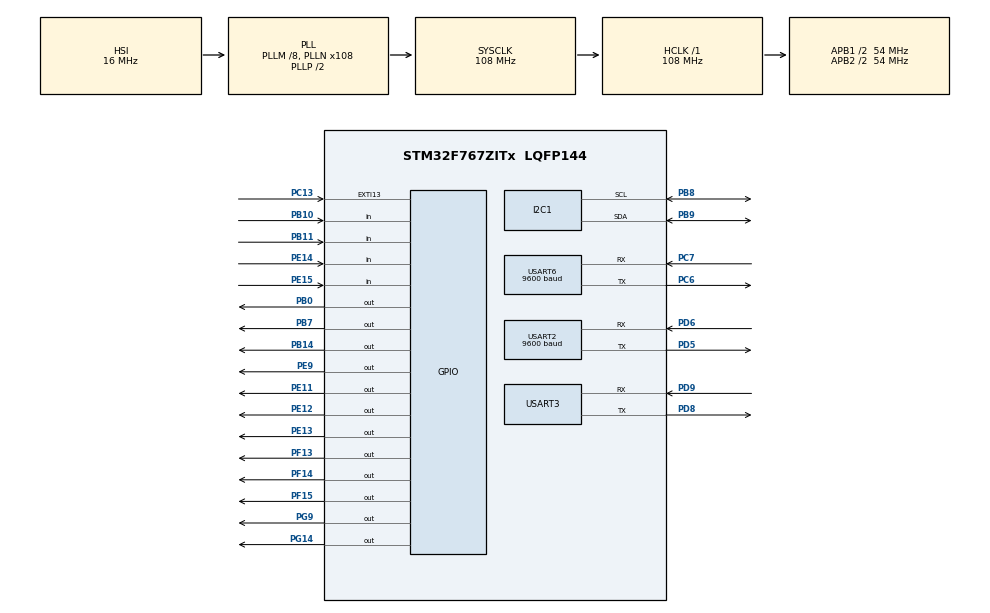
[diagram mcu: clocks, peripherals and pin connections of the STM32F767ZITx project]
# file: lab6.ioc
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I2C1.Timing=0x20404768
Mcu.Family=STM32F7
Mcu.Name=STM32F767ZITx
Mcu.Package=LQFP144
NVIC.EXTI15_10_IRQn=true\:1\:0\:true\:false\:true\:true\:true
NVIC.PriorityGroup=NVIC_PRIORITYGROUP_2
NVIC.TIM1_UP_TIM10_IRQn=true\:1\:0\:true\:false\:true\:true\:true
NVIC.TIM2_IRQn=true\:2\:0\:true\:false\:true\:true\:true
PB0.Signal=GPIO_Output
PB10.Signal=GPIO_Input
PB11.Signal=GPIO_Input
PB14.Signal=GPIO_Output
PB7.Signal=GPIO_Output
PB8.Mode=I2C
PB8.Signal=I2C1_SCL
PB9.Mode=I2C
PB9.Signal=I2C1_SDA
PC13.Signal=GPXTI13
PC6.Mode=Asynchronous
PC6.Signal=USART6_TX
PC7.Mode=Asynchronous
PC7.Signal=USART6_RX
PD5.Mode=Asynchronous
PD5.Signal=USART2_TX
PD6.Mode=Asynchronous
PD6.Signal=USART2_RX
PD8.Mode=Asynchronous
PD8.Signal=USART3_TX
PD9.Mode=Asynchronous
PD9.Signal=USART3_RX
PE11.Signal=GPIO_Output
PE12.Signal=GPIO_Output
PE13.Signal=GPIO_Output
PE14.Signal=GPIO_Input
PE15.Signal=GPIO_Input
PE9.Signal=GPIO_Output
PF13.Signal=GPIO_Output
PF14.Signal=GPIO_Output
PF15.Signal=GPIO_Output
PG14.Signal=GPIO_Output
PG9.Signal=GPIO_Output
ProjectManager.HeapSize=0x200
ProjectManager.StackSize=0x400
ProjectManager.TargetToolchain=STM32CubeIDE
RCC.AHBFreq_Value=108000000
RCC.APB1CLKDivider=RCC_HCLK_DIV2
RCC.APB1Freq_Value=54000000
RCC.APB1TimFreq_Value=108000000
RCC.APB2CLKDivider=RCC_HCLK_DIV2
RCC.APB2Freq_Value=54000000
RCC.APB2TimFreq_Value=108000000
RCC.CortexFreq_Value=108000000
RCC.HCLKFreq_Value=108000000
RCC.HSE_VALUE=25000000
RCC.HSI_VALUE=16000000
RCC.LSE_VALUE=32768
RCC.PLLM=8
RCC.PLLN=108
RCC.SYSCLKFreq_VALUE=108000000
RCC.SYSCLKSource=RCC_SYSCLKSOURCE_PLLCLK
RCC.USBFreq_Value=108000000
RCC.VCOOutputFreq_Value=216000000
TIM1.Period=1000-1
TIM1.Prescaler=108-1
TIM2.Period=1000000-1
TIM2.Prescaler=108-1
USART2.BaudRate=9600
USART2.VirtualMode-Asynchronous=VM_ASYNC
USART3.VirtualMode-Asynchronous=VM_ASYNC
USART6.BaudRate=9600
USART6.VirtualMode-Asynchronous=VM_ASYNC
VP_TIM1_VS_ClockSourceINT.Mode=Internal
VP_TIM2_VS_ClockSourceINT.Mode=Internal
board=custom

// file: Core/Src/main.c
/* USER CODE BEGIN Header */
/**
  ******************************************************************************
  * @file           : main.c
  * @brief          : Main program body
  ******************************************************************************
  * @attention
  *
  * <h2><center>&copy; Copyright (c) 2021 STMicroelectronics.
  * All rights reserved.</center></h2>
  *
  * This software component is licensed by ST under BSD 3-Clause license,
  * the "License"; You may not use this file except in compliance with the
  * License. You may obtain a copy of the License at:
  *                        opensource.org/licenses/BSD-3-Clause
  *
  ******************************************************************************
  */
/* USER CODE END Header */
#include "main.h"
#include "i2c.h"
#include "tim.h"
#include "usart.h"
#include "gpio.h"

/* USER CODE BEGIN Includes */
#include "string.h"
/* USER CODE END Includes */

/* USER CODE BEGIN PV */
uint32_t count = 0;
uint8_t cmdBuffer[3];
uint8_t dataBuffer[8];
uint32_t count2 = 0;
uint32_t count3 = 2999;
uint32_t t = 0;
uint32_t h = 0;
uint32_t hutu = 0;
uint32_t x = 0;
uint32_t tat = 0;
uint32_t termomiter = 28;
uint32_t bin[6] = {0,0,0,0,0,0};
uint32_t alert[3] = {0,1,0};
uint32_t alert2[3] = {0,2,0};
uint32_t st = 1;
uint32_t nub = 0;

float humid =30.0, temp=40.0;
uint8_t step = 0;
HAL_StatusTypeDef status;
char str[50];
char num[] = " ";
char numn[] = " ";
char num1[] = " ";
char num2[] = " ";

/* USER CODE END PV */

void SystemClock_Config(void);
/* USER CODE BEGIN PFP */
uint16_t CRC16_2(uint8_t *,uint8_t );
/* USER CODE END PFP */

int main(void)
{

  /* MCU Configuration--------------------------------------------------------*/

  /* Reset of all peripherals, Initializes the Flash interface and the Systick. */
  HAL_Init();

  /* USER CODE BEGIN Init */
  cmdBuffer[0] = 0x03;
  cmdBuffer[1] = 0x00;
  cmdBuffer[2] = 0x04;
  /* USER CODE END Init */

  /* Configure the system clock */
  SystemClock_Config();

  /* Initialize all configured peripherals */
  MX_GPIO_Init();
  MX_TIM1_Init();
  MX_TIM2_Init();
  MX_USART3_UART_Init();
  MX_I2C1_Init();
  MX_USART6_UART_Init();
  MX_USART2_UART_Init();
  /* USER CODE BEGIN 2 */
  HAL_TIM_Base_Start_IT (&htim1);
  HAL_TIM_Base_Start_IT (&htim2);
  /* USER CODE END 2 */

  /* Infinite loop */
  while (1)
  {

    /* USER CODE BEGIN 3 */
//	  HAL_Delay(400);
//	  displayNumber2(count);
	  char strt[] = "\rTimer          \r\n\tpress button to set time\r\n\tAlert Time : 05:00:00";
	  char strt2[] = "\r\n\tAlert Time2 : ";
	  sprintf(num2,"%.2d:%.2d:%.2d\n",alert2[0],alert2[1],alert2[2]);
	  while(__HAL_UART_GET_FLAG(&huart3,UART_FLAG_TC)==RESET){}
	  HAL_UART_Transmit(&huart3, (uint32_t*)strt,strlen(strt),1000);
	  HAL_UART_Transmit(&huart3, (uint32_t*)strt2,strlen(strt2),1000);
	  HAL_UART_Transmit(&huart3, (uint32_t*)num2,strlen(num2),1000);
	  HAL_Delay(800);
	  termomiter = 31;
	  while(st){
//
//		  Temp();
		  if(count2 == 1){
			  count2 = 0;
		  	displayNumber2();
		  	checkalert();
		  	ctemp(termomiter);
		   }
	  }
  }
  /* USER CODE END 3 */
}

void SystemClock_Config(void)
{
  RCC_OscInitTypeDef RCC_OscInitStruct = {0};
  RCC_ClkInitTypeDef RCC_ClkInitStruct = {0};
  RCC_PeriphCLKInitTypeDef PeriphClkInitStruct = {0};

  /** Configure the main internal regulator output voltage
  */
  __HAL_RCC_PWR_CLK_ENABLE();
  __HAL_PWR_VOLTAGESCALING_CONFIG(PWR_REGULATOR_VOLTAGE_SCALE3);
  /** Initializes the RCC Oscillators according to the specified parameters
  * in the RCC_OscInitTypeDef structure.
  */
  RCC_OscInitStruct.OscillatorType = RCC_OSCILLATORTYPE_HSI;
  RCC_OscInitStruct.HSIState = RCC_HSI_ON;
  RCC_OscInitStruct.HSICalibrationValue = RCC_HSICALIBRATION_DEFAULT;
  RCC_OscInitStruct.PLL.PLLState = RCC_PLL_ON;
  RCC_OscInitStruct.PLL.PLLSource = RCC_PLLSOURCE_HSI;
  RCC_OscInitStruct.PLL.PLLM = 8;
  RCC_OscInitStruct.PLL.PLLN = 108;
  RCC_OscInitStruct.PLL.PLLP = RCC_PLLP_DIV2;
  RCC_OscInitStruct.PLL.PLLQ = 2;
  RCC_OscInitStruct.PLL.PLLR = 2;
  if (HAL_RCC_OscConfig(&RCC_OscInitStruct) != HAL_OK)
  {
    Error_Handler();
  }
  /** Activate the Over-Drive mode
  */
  if (HAL_PWREx_EnableOverDrive() != HAL_OK)
  {
    Error_Handler();
  }
  /** Initializes the CPU, AHB and APB buses clocks
  */
  RCC_ClkInitStruct.ClockType = RCC_CLOCKTYPE_HCLK|RCC_CLOCKTYPE_SYSCLK
                              |RCC_CLOCKTYPE_PCLK1|RCC_CLOCKTYPE_PCLK2;
  RCC_ClkInitStruct.SYSCLKSource = RCC_SYSCLKSOURCE_PLLCLK;
  RCC_ClkInitStruct.AHBCLKDivider = RCC_SYSCLK_DIV1;
  RCC_ClkInitStruct.APB1CLKDivider = RCC_HCLK_DIV2;
  RCC_ClkInitStruct.APB2CLKDivider = RCC_HCLK_DIV2;

  if (HAL_RCC_ClockConfig(&RCC_ClkInitStruct, FLASH_LATENCY_3) != HAL_OK)
  {
    Error_Handler();
  }
  PeriphClkInitStruct.PeriphClockSelection = RCC_PERIPHCLK_USART2|RCC_PERIPHCLK_USART3
                              |RCC_PERIPHCLK_USART6|RCC_PERIPHCLK_I2C1;
  PeriphClkInitStruct.Usart2ClockSelection = RCC_USART2CLKSOURCE_PCLK1;
  PeriphClkInitStruct.Usart3ClockSelection = RCC_USART3CLKSOURCE_PCLK1;
  PeriphClkInitStruct.Usart6ClockSelection = RCC_USART6CLKSOURCE_PCLK2;
  PeriphClkInitStruct.I2c1ClockSelection = RCC_I2C1CLKSOURCE_PCLK1;
  if (HAL_RCCEx_PeriphCLKConfig(&PeriphClkInitStruct) != HAL_OK)
  {
    Error_Handler();
  }
}

/* USER CODE BEGIN 4 */

void Temp(){

	  HAL_I2C_Master_Transmit(&hi2c1,0x5c<<1,cmdBuffer,3,200);
	  HAL_I2C_Master_Transmit(&hi2c1,0x5c<<1,cmdBuffer,3,200);

	  HAL_Delay(1);

		  HAL_I2C_Master_Receive(&hi2c1,0x5c<<1,dataBuffer,8,200);

		  uint16_t Rcrc = dataBuffer[7]<<8;
		  Rcrc += dataBuffer[6];
		  if(Rcrc == CRC16_2(dataBuffer,6)){
		  uint16_t temperature = ((dataBuffer[4] & 0x7F) << 8) + dataBuffer[5];

		  temp = (((dataBuffer[4] & 0x80) >> 7) == 1)?(t*(-1)) : t ;
		  temp = temperature / 10.0;

		  uint16_t humidity = (dataBuffer[2] << 8) + dataBuffer[3];
		  humid = humidity /10.0;

//		  sprintf(str,"Temp  %4.1f C\n\rHumid %4.1f %%\n\r\n",temp,humid);
//		  while(__HAL_UART_GET_FLAG(&huart3,UART_FLAG_TC)==RESET){}
//		  HAL_UART_Transmit(&huart3,(uint8_t*) str,strlen(str),200);
}
}

//void displayTemp(uint8_t t,uint8_t h){
//	 sprintf(str,"Temp  %4.1f C\n\rHumid %4.1f %%\n\r\n",t,h);
//     while(__HAL_UART_GET_FLAG(&huart3,UART_FLAG_TC)==RESET){}
//	 HAL_UART_Transmit(&huart3,(uint8_t*) str,strlen(str),200);
//}

uint16_t CRC16_2(uint8_t *ptr, uint8_t length)
{
    uint16_t crc = 0xFFFF;
    uint8_t s = 0x00;

    while(length--){
        crc ^= *ptr++;
        for(s = 0; s < 8; s++){
            if((crc & 0x01) != 0){
                crc >>= 1;
                crc ^= 0xA001;
            } else crc >>= 1;
        }
    }
    return crc;
}

//void displayNumber(uint32_t x)
//{
//	sprintf(num,"%d",x);
//	while(__HAL_UART_GET_FLAG(&huart3,UART_FLAG_TC)==RESET){}
//	HAL_UART_Transmit(&huart3, (uint32_t*) "\n\r", 4,1000);
//	HAL_UART_Transmit(&huart3, (uint32_t*)num,strlen(num),1000);
//
//}
void checkalert(){
	if(alert[0]==h ){
		if(alert[1]== t ){
			if(alert[2]== x ){
				HAL_GPIO_WritePin(GPIOE, GPIO_PIN_12, 1);
				HAL_GPIO_WritePin(GPIOF, GPIO_PIN_13, 1);

			}}}
	if(alert2[0]==h ){
			if(alert2[1]==t ){
				if(alert2[2]==x ){
					HAL_GPIO_WritePin(GPIOE, GPIO_PIN_12, 0);
					HAL_GPIO_WritePin(GPIOE, GPIO_PIN_9, 1);}}}
	HAL_Delay(100);
	HAL_GPIO_WritePin(GPIOF, GPIO_PIN_13, 0);
	HAL_GPIO_WritePin(GPIOE, GPIO_PIN_9, 0);
}
void ctemp(int e ){
		if(0== t ){
			if(7 == x){
				senttemp(termomiter);
				Temp();
				hutu = humid;
				termomiter = temp;
			}
		}
		if(x%10 ==0){
				sprintf(num2," %.2d:%.2d:%.2d ",h,t,x);
			nub = strlen(num2);
			while(__HAL_UART_GET_FLAG(&huart2,UART_FLAG_TC)==RESET){}
			HAL_UART_Transmit(&huart2, (uint32_t*) num2,strlen(num2),1000 );
			}
		else if(x%5 == 0){
			sprintf(num2,"T=%.2d H=%.2d ",termomiter,hutu);
			nub = strlen(num2);
			while(__HAL_UART_GET_FLAG(&huart2,UART_FLAG_TC)==RESET){}
			HAL_UART_Transmit(&huart2, (uint32_t*) num2,strlen(num2),1000 );
					}

		if(t%1 == 0 ){
			if(18 == x){
			Temp();
			termomiter = (termomiter+temp)/2;
			hutu = (hutu+humid)/2;
			senttemp(termomiter);

		}
				}

}
void senttemp(int e){
	for(int w=0 ; w < 6 ;w++){
		bin[w] = e % 2;
		e /= 2;
	}
	HAL_GPIO_WritePin(GPIOF, GPIO_PIN_13, 1);
	HAL_GPIO_WritePin(GPIOE, GPIO_PIN_9, 1);
	HAL_GPIO_WritePin(GPIOG, GPIO_PIN_9, bin[0]);
	HAL_GPIO_WritePin(GPIOG, GPIO_PIN_14, bin[1]);
	HAL_GPIO_WritePin(GPIOF, GPIO_PIN_15, bin[2]);
	HAL_GPIO_WritePin(GPIOE, GPIO_PIN_13, bin[3]);
	HAL_GPIO_WritePin(GPIOF, GPIO_PIN_14, bin[4]);
	HAL_GPIO_WritePin(GPIOE, GPIO_PIN_11, bin[5]);
	HAL_Delay(300);
	HAL_GPIO_WritePin(GPIOF, GPIO_PIN_13, 0);
	HAL_GPIO_WritePin(GPIOE, GPIO_PIN_9, 0);
	HAL_GPIO_WritePin(GPIOG, GPIO_PIN_9, 0);
	HAL_GPIO_WritePin(GPIOG, GPIO_PIN_14, 0);
	HAL_GPIO_WritePin(GPIOF, GPIO_PIN_15, 0);
	HAL_GPIO_WritePin(GPIOE, GPIO_PIN_13, 0);
	HAL_GPIO_WritePin(GPIOF, GPIO_PIN_14, 0);
	HAL_GPIO_WritePin(GPIOE, GPIO_PIN_11, 0);
}
void displayNumber2()
{
//	x = x/1000;
	count3 += 2;
//	x += 1;
//	if(x>59){
//		t++;
//		x = 0;}
//	if(t>59){
//			t = 0;
//			h++;
//			}
//	if(h>23){
//			h=0;
//			}
//	sprintf(num,"%d",count3);
//	sprintf(num,"%.2d:%.2d:%.2d Temp = %2d  ",h,t,x,termomiter);
	Temp();
	termomiter = temp;
	hutu = humid;
	sprintf(num,"%.2d:%.2d:%.2d Temp = %2d Humid %2d",h,t,x,termomiter,hutu);
	while(__HAL_UART_GET_FLAG(&huart3,UART_FLAG_TC)==RESET){}
	HAL_UART_Transmit(&huart3, (uint32_t*) "\r", 4,1000);
	HAL_UART_Transmit(&huart3, (uint32_t*)num,strlen(num),1000);
//	sprintf(num,"%2d",termomiter);
//	while(__HAL_UART_GET_FLAG(&huart6,UART_FLAG_TC)==RESET){}
//	HAL_UART_Transmit(&huart6, (uint32_t*)num,strlen(num),1000);
//	if(count3 == 3029){
//			while(__HAL_UART_GET_FLAG(&huart3,UART_FLAG_TC)==RESET){}
//				HAL_UART_Transmit(&huart3, (uint32_t*) "\n\r", 4,1000);
//				HAL_UART_Transmit(&huart3, (uint32_t*)"stop",4,1000);
//				st = 0;
//		}

}
void HAL_GPIO_EXTI_Callback(uint16_t GPIO_Pin){
//	if(GPIO_Pin == GPIO_PIN_13){
//		HAL_Delay(1000);
//		HAL_GPIO_WritePin(GPIOB, GPIO_PIN_0, 1);
//		HAL_Delay(1000);
//		HAL_GPIO_WritePin(GPIOB, GPIO_PIN_7, 1);
//		HAL_Delay(1000);
//		HAL_GPIO_WritePin(GPIOB, GPIO_PIN_7, 0);
//		HAL_GPIO_WritePin(GPIOB, GPIO_PIN_0, 0);
//	}
	tat = 0 ;
	while(__HAL_UART_GET_FLAG(&huart3,UART_FLAG_TC)==RESET){}
					HAL_UART_Transmit(&huart3, (uint32_t*) "\n\r Next", 9,1000);
	while(1){
//		while(__HAL_UART_GET_FLAG(&huart3, UART_FLAG_RXNE) == RESET){}
//				HAL_UART_Receive(&huart3, (uint8_t*) &usrType, 1, 1000);
		if(HAL_GPIO_ReadPin(GPIOE, GPIO_PIN_14) == GPIO_PIN_RESET ){
			HAL_Delay(7000);
			if(tat == 0){
				h++;
			if(h>23){
				h=0;
			}
			sprintf(num,"Time = %.2d:%.2d:%.2d",h,t,x);
			while(__HAL_UART_GET_FLAG(&huart3,UART_FLAG_TC)==RESET){}
				HAL_UART_Transmit(&huart3, (uint32_t*) "\r", 2,1000);
				HAL_UART_Transmit(&huart3, (uint32_t*)num,strlen(num),1000);
			sprintf(num2," %.2d:%.2d:%.2d ",h,t,x);
				while(__HAL_UART_GET_FLAG(&huart2,UART_FLAG_TC)==RESET){}
				HAL_UART_Transmit(&huart2, (uint32_t*) num2,strlen(num2),1000 );
			}
			if(tat == 1){
				alert[0]++;
				if(alert[0] > 23){
					alert[0] = 0;
				}
				sprintf(num,"Open %.2d:%.2d:%.2d",alert[0],alert[1],alert[2]);
				while(__HAL_UART_GET_FLAG(&huart3,UART_FLAG_TC)==RESET){}
				HAL_UART_Transmit(&huart3, (uint32_t*) "\r", 2,1000);
				HAL_UART_Transmit(&huart3, (uint32_t*)num,strlen(num),1000);
				sprintf(num2," %.2d:%.2d:%.2d ",alert[0],alert[1],alert[2]);
				while(__HAL_UART_GET_FLAG(&huart2,UART_FLAG_TC)==RESET){}
				HAL_UART_Transmit(&huart2, (uint32_t*) num2,strlen(num2),1000 );

			}
			if(tat == 2){
							alert2[0]++;
							if(alert2[0] > 23){
								alert2[0] = 0;
							}
							sprintf(num,"Close %.2d:%.2d:%.2d",alert2[0],alert2[1],alert2[2]);
							while(__HAL_UART_GET_FLAG(&huart3,UART_FLAG_TC)==RESET){}
							HAL_UART_Transmit(&huart3, (uint32_t*) "\r", 2,1000);
							HAL_UART_Transmit(&huart3, (uint32_t*)num,strlen(num),1000);
							sprintf(num2," %.2d:%.2d:%.2d ",alert2[0],alert2[1],alert2[2]);
							while(__HAL_UART_GET_FLAG(&huart2,UART_FLAG_TC)==RESET){}
							HAL_UART_Transmit(&huart2, (uint32_t*) num2,strlen(num2),1000 );

						}

		}
		if(HAL_GPIO_ReadPin(GPIOE, GPIO_PIN_15) == GPIO_PIN_RESET ){
			HAL_Delay(7000);
			if(tat ==  0){
				t++;
					if(t>59){
									t=0;
								}
					sprintf(num,"Time = %.2d:%.2d:%.2d",h,t,x);
								while(__HAL_UART_GET_FLAG(&huart3,UART_FLAG_TC)==RESET){}
									HAL_UART_Transmit(&huart3, (uint32_t*) "\r", 2,1000);
									HAL_UART_Transmit(&huart3, (uint32_t*)num,strlen(num),1000);
									sprintf(num2," %.2d:%.2d:%.2d ",h,t,x);
									while(__HAL_UART_GET_FLAG(&huart2,UART_FLAG_TC)==RESET){}
									HAL_UART_Transmit(&huart2, (uint32_t*) num2,strlen(num2),1000 );
			}
			if(tat == 1){
							alert[1]++;
							if(alert[1] > 59){
								alert[1] = 0;
							}
							sprintf(num,"Open %.2d:%.2d:%.2d",alert[0],alert[1],alert[2]);
							while(__HAL_UART_GET_FLAG(&huart3,UART_FLAG_TC)==RESET){}
							HAL_UART_Transmit(&huart3, (uint32_t*) "\r", 2,1000);
							HAL_UART_Transmit(&huart3, (uint32_t*)num,strlen(num),1000);
							sprintf(num2," %.2d:%.2d:%.2d ",alert[0],alert[1],alert[2]);
											while(__HAL_UART_GET_FLAG(&huart2,UART_FLAG_TC)==RESET){}
											HAL_UART_Transmit(&huart2, (uint32_t*) num2,strlen(num2),1000 );

						}
			if(tat == 2){
										alert2[1]++;
										if(alert2[1] > 59){
											alert2[1] = 0;
										}
										sprintf(num,"Close %.2d:%.2d:%.2d",alert2[0],alert2[1],alert2[2]);
										while(__HAL_UART_GET_FLAG(&huart3,UART_FLAG_TC)==RESET){}
										HAL_UART_Transmit(&huart3, (uint32_t*) "\r", 2,1000);
										HAL_UART_Transmit(&huart3, (uint32_t*)num,strlen(num),1000);
										sprintf(num2," %.2d:%.2d:%.2d ",alert2[0],alert2[1],alert2[2]);
										while(__HAL_UART_GET_FLAG(&huart2,UART_FLAG_TC)==RESET){}
										HAL_UART_Transmit(&huart2, (uint32_t*) num2,strlen(num2),1000 );

									}

				}
		if(HAL_GPIO_ReadPin(GPIOB, GPIO_PIN_10) == GPIO_PIN_RESET ){
			HAL_Delay(7000);
			if(tat == 0){
				x++;
					if(x>59){
							x=0;
					}
					sprintf(num,"Time = %.2d:%.2d:%.2d",h,t,x );
								while(__HAL_UART_GET_FLAG(&huart3,UART_FLAG_TC)==RESET){}
									HAL_UART_Transmit(&huart3, (uint32_t*) "\r", 2,1000);
									HAL_UART_Transmit(&huart3, (uint32_t*)num,strlen(num),1000);
									sprintf(num2," %.2d:%.2d:%.2d ",h,t,x);
									while(__HAL_UART_GET_FLAG(&huart2,UART_FLAG_TC)==RESET){}
									HAL_UART_Transmit(&huart2, (uint32_t*) num2,strlen(num2),1000 );
			}
			if(tat == 1){
							alert[2]++;
							if(alert[2] > 59){
								alert[2] = 0;
							}
							sprintf(num,"Open %.2d:%.2d:%.2d",alert[0],alert[1],alert[2]);
							while(__HAL_UART_GET_FLAG(&huart3,UART_FLAG_TC)==RESET){}
							HAL_UART_Transmit(&huart3, (uint32_t*) "\r", 2,1000);
							HAL_UART_Transmit(&huart3, (uint32_t*)num,strlen(num),1000);
							sprintf(num2," %.2d:%.2d:%.2d ",alert[0],alert[1],alert[2]);
							while(__HAL_UART_GET_FLAG(&huart2,UART_FLAG_TC)==RESET){}
							HAL_UART_Transmit(&huart2, (uint32_t*) num2,strlen(num2),1000 );

						}
			if(tat == 2){
										alert2[2]++;
										if(alert2[2] > 59){
											alert2[2] = 0;
										}
										sprintf(num,"Close %.2d:%.2d:%.2d",alert2[0],alert2[1],alert2[2]);
										while(__HAL_UART_GET_FLAG(&huart3,UART_FLAG_TC)==RESET){}
										HAL_UART_Transmit(&huart3, (uint32_t*) "\r", 2,1000);
										HAL_UART_Transmit(&huart3, (uint32_t*)num,strlen(num),1000);
										sprintf(num2," %.2d:%.2d:%.2d ",alert2[0],alert2[1],alert2[2]);
										while(__HAL_UART_GET_FLAG(&huart2,UART_FLAG_TC)==RESET){}
										HAL_UART_Transmit(&huart2, (uint32_t*) num2,strlen(num2),1000 );

									}
				}

		if(HAL_GPIO_ReadPin(GPIOB, GPIO_PIN_11) == GPIO_PIN_RESET ){
			HAL_Delay(7000);
			tat += 1 ;
			HAL_UART_Transmit(&huart3, (uint32_t*) "\n\r Next", 9,1000);
			if(tat == 3 ){
				break;
			}
				}
	}

}
/* USER CODE END 4 */

void Error_Handler(void)
{
  __disable_irq();
  while (1)
  {
  }
}

/************************ (C) COPYRIGHT STMicroelectronics *****END OF FILE****/
